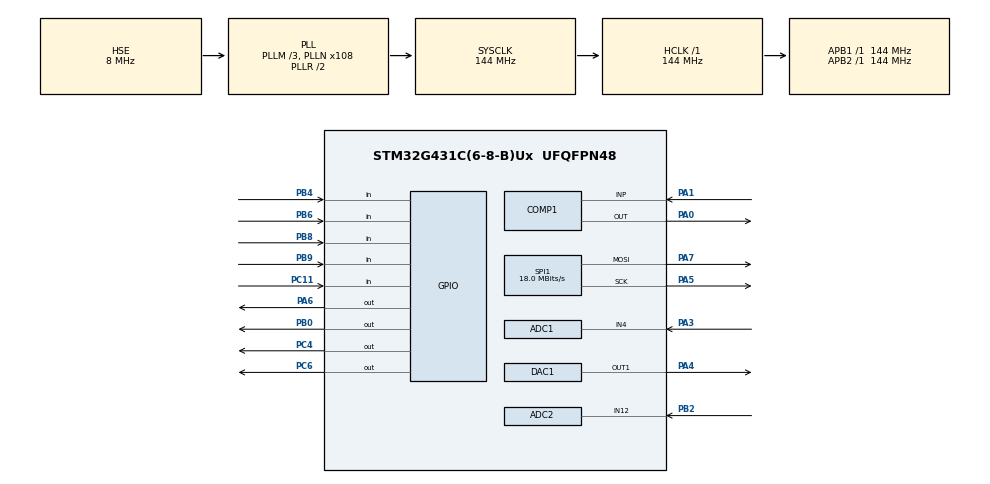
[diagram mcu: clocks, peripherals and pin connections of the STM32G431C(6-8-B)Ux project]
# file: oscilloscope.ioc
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ADC1.Channel-2\#ChannelRegularConversion=ADC_CHANNEL_4
ADC1.DMAContinuousRequests=ENABLE
ADC1.ExternalTrigConv=ADC_EXTERNALTRIG_T3_TRGO
ADC1.NbrOfConversionFlag=1
ADC1.OffsetNumber-2\#ChannelRegularConversion=ADC_OFFSET_NONE
ADC1.Overrun=ADC_OVR_DATA_OVERWRITTEN
ADC1.Rank-2\#ChannelRegularConversion=1
ADC1.SamplingTime-2\#ChannelRegularConversion=ADC_SAMPLETIME_2CYCLES_5
ADC1.master=1
ADC2.Channel-0\#ChannelRegularConversion=ADC_CHANNEL_12
ADC2.DMAContinuousRequests=ENABLE
ADC2.ExternalTrigConv=ADC_EXTERNALTRIG_T3_TRGO
ADC2.NbrOfConversionFlag=1
ADC2.OffsetNumber-0\#ChannelRegularConversion=ADC_OFFSET_NONE
ADC2.Overrun=ADC_OVR_DATA_OVERWRITTEN
ADC2.Rank-0\#ChannelRegularConversion=1
ADC2.SamplingTime-0\#ChannelRegularConversion=ADC_SAMPLETIME_2CYCLES_5
COMP1.Hysteresis=COMP_HYSTERESIS_10MV
DAC1.DAC_Trigger_OUT1-DAC_OUT1=DAC_TRIGGER_T2_TRGO
Dma.ADC1.2.Direction=DMA_PERIPH_TO_MEMORY
Dma.ADC1.2.EventEnable=DISABLE
Dma.ADC1.2.Instance=DMA1_Channel3
Dma.ADC1.2.MemDataAlignment=DMA_MDATAALIGN_HALFWORD
Dma.ADC1.2.MemInc=DMA_MINC_ENABLE
Dma.ADC1.2.Mode=DMA_CIRCULAR
Dma.ADC1.2.PeriphDataAlignment=DMA_PDATAALIGN_HALFWORD
Dma.ADC1.2.PeriphInc=DMA_PINC_DISABLE
Dma.ADC1.2.Polarity=HAL_DMAMUX_REQ_GEN_RISING
Dma.ADC1.2.Priority=DMA_PRIORITY_HIGH
Dma.ADC1.2.RequestNumber=1
Dma.ADC1.2.SignalID=NONE
Dma.ADC1.2.SyncEnable=DISABLE
Dma.ADC1.2.SyncPolarity=HAL_DMAMUX_SYNC_NO_EVENT
Dma.ADC1.2.SyncRequestNumber=1
Dma.ADC1.2.SyncSignalID=NONE
Dma.ADC2.0.Direction=DMA_PERIPH_TO_MEMORY
Dma.ADC2.0.EventEnable=DISABLE
Dma.ADC2.0.Instance=DMA1_Channel1
Dma.ADC2.0.MemDataAlignment=DMA_MDATAALIGN_HALFWORD
Dma.ADC2.0.MemInc=DMA_MINC_ENABLE
Dma.ADC2.0.Mode=DMA_CIRCULAR
Dma.ADC2.0.PeriphDataAlignment=DMA_PDATAALIGN_HALFWORD
Dma.ADC2.0.PeriphInc=DMA_PINC_DISABLE
Dma.ADC2.0.Polarity=HAL_DMAMUX_REQ_GEN_RISING
Dma.ADC2.0.Priority=DMA_PRIORITY_VERY_HIGH
Dma.ADC2.0.RequestNumber=1
Dma.ADC2.0.SignalID=NONE
Dma.ADC2.0.SyncEnable=DISABLE
Dma.ADC2.0.SyncPolarity=HAL_DMAMUX_SYNC_NO_EVENT
Dma.ADC2.0.SyncRequestNumber=1
Dma.ADC2.0.SyncSignalID=NONE
Dma.DAC1_CH1.3.Direction=DMA_MEMORY_TO_PERIPH
Dma.DAC1_CH1.3.EventEnable=DISABLE
Dma.DAC1_CH1.3.Instance=DMA1_Channel4
Dma.DAC1_CH1.3.MemDataAlignment=DMA_MDATAALIGN_WORD
Dma.DAC1_CH1.3.MemInc=DMA_MINC_ENABLE
Dma.DAC1_CH1.3.Mode=DMA_CIRCULAR
Dma.DAC1_CH1.3.PeriphDataAlignment=DMA_PDATAALIGN_WORD
Dma.DAC1_CH1.3.PeriphInc=DMA_PINC_DISABLE
Dma.DAC1_CH1.3.Polarity=HAL_DMAMUX_REQ_GEN_RISING
Dma.DAC1_CH1.3.Priority=DMA_PRIORITY_LOW
Dma.DAC1_CH1.3.RequestNumber=1
Dma.DAC1_CH1.3.SignalID=NONE
Dma.DAC1_CH1.3.SyncEnable=DISABLE
Dma.DAC1_CH1.3.SyncPolarity=HAL_DMAMUX_SYNC_NO_EVENT
Dma.DAC1_CH1.3.SyncRequestNumber=1
Dma.DAC1_CH1.3.SyncSignalID=NONE
Dma.Request0=ADC2
Dma.Request1=SPI1_TX
Dma.Request2=ADC1
Dma.Request3=DAC1_CH1
Dma.SPI1_TX.1.Direction=DMA_MEMORY_TO_PERIPH
Dma.SPI1_TX.1.EventEnable=DISABLE
Dma.SPI1_TX.1.Instance=DMA1_Channel2
Dma.SPI1_TX.1.MemDataAlignment=DMA_MDATAALIGN_BYTE
Dma.SPI1_TX.1.MemInc=DMA_MINC_ENABLE
Dma.SPI1_TX.1.Mode=DMA_NORMAL
Dma.SPI1_TX.1.PeriphDataAlignment=DMA_PDATAALIGN_BYTE
Dma.SPI1_TX.1.PeriphInc=DMA_PINC_DISABLE
Dma.SPI1_TX.1.Polarity=HAL_DMAMUX_REQ_GEN_RISING
Dma.SPI1_TX.1.Priority=DMA_PRIORITY_VERY_HIGH
Dma.SPI1_TX.1.RequestNumber=1
Dma.SPI1_TX.1.SignalID=NONE
Dma.SPI1_TX.1.SyncEnable=DISABLE
Dma.SPI1_TX.1.SyncPolarity=HAL_DMAMUX_SYNC_NO_EVENT
Dma.SPI1_TX.1.SyncRequestNumber=1
Dma.SPI1_TX.1.SyncSignalID=NONE
Mcu.Family=STM32G4
Mcu.Name=STM32G431C(6-8-B)Ux
Mcu.Package=UFQFPN48
NVIC.DMA1_Channel1_IRQn=true\:0\:0\:false\:false\:true\:false\:true\:true
NVIC.DMA1_Channel2_IRQn=true\:0\:0\:false\:false\:true\:false\:true\:true
NVIC.DMA1_Channel3_IRQn=true\:0\:0\:false\:false\:true\:false\:true\:true
NVIC.DMA1_Channel4_IRQn=true\:0\:0\:false\:false\:true\:false\:true\:true
NVIC.PriorityGroup=NVIC_PRIORITYGROUP_4
NVIC.TIM1_CC_IRQn=true\:0\:0\:false\:false\:true\:true\:true\:true
NVIC.TIM1_UP_TIM16_IRQn=true\:0\:0\:false\:false\:true\:true\:true\:true
PA0.Mode=ExternalOutput
PA0.Signal=COMP1_OUT
PA1.Mode=INP
PA1.Signal=COMP1_INP
PA13.Mode=Serial_Wire
PA13.Signal=SYS_JTMS-SWDIO
PA14.Mode=Serial_Wire
PA14.Signal=SYS_JTCK-SWCLK
PA3.Mode=IN4-Single-Ended
PA3.Signal=ADC1_IN4
PA4.Signal=COMP_DAC11_group
PA5.Mode=TX_Only_Simplex_Unidirect_Master
PA5.Signal=SPI1_SCK
PA6.Signal=GPIO_Output
PA7.Mode=TX_Only_Simplex_Unidirect_Master
PA7.Signal=SPI1_MOSI
PB0.Signal=GPIO_Output
PB2.Mode=IN12-Single-Ended
PB2.Signal=ADC2_IN12
PB4.GPIO_PuPd=GPIO_PULLUP
PB4.Signal=GPIO_Input
PB6.GPIO_PuPd=GPIO_PULLUP
PB6.Signal=GPIO_Input
PB8-BOOT0.GPIO_PuPd=GPIO_PULLUP
PB8-BOOT0.Signal=GPIO_Input
PB9.GPIO_PuPd=GPIO_PULLUP
PB9.Signal=GPIO_Input
PC11.GPIO_PuPd=GPIO_PULLUP
PC11.Signal=GPIO_Input
PC4.Signal=GPIO_Output
PC6.Signal=GPIO_Output
PF0-OSC_IN.Mode=HSE-External-Oscillator
PF0-OSC_IN.Signal=RCC_OSC_IN
PF1-OSC_OUT.Mode=HSE-External-Oscillator
PF1-OSC_OUT.Signal=RCC_OSC_OUT
ProjectManager.HeapSize=0x200
ProjectManager.StackSize=0x400
ProjectManager.TargetToolchain=CMake
RCC.ADC12Freq_Value=144000000
RCC.AHBFreq_Value=144000000
RCC.APB1Freq_Value=144000000
RCC.APB1TimFreq_Value=144000000
RCC.APB2Freq_Value=144000000
RCC.APB2TimFreq_Value=144000000
RCC.CortexFreq_Value=144000000
RCC.EXTERNAL_CLOCK_VALUE=12288000
RCC.HCLKFreq_Value=144000000
RCC.HSE_VALUE=8000000
RCC.HSI48_VALUE=48000000
RCC.HSI_VALUE=16000000
RCC.LSE_VALUE=32768
RCC.PLLM=RCC_PLLM_DIV3
RCC.PLLN=108
RCC.PLLQ=RCC_PLLQ_DIV6
RCC.PLLSourceVirtual=RCC_PLLSOURCE_HSE
RCC.SYSCLKFreq_VALUE=144000000
RCC.SYSCLKSource=RCC_SYSCLKSOURCE_PLLCLK
RCC.USBFreq_Value=48000000
RCC.VCOOutputFreq_Value=288000000
SH.COMP_DAC11_group.0=DAC1_OUT1,DAC_OUT1
SPI1.BaudRatePrescaler=SPI_BAUDRATEPRESCALER_8
SPI1.CalculateBaudRate=18.0 MBits/s
SPI1.DataSize=SPI_DATASIZE_8BIT
SPI1.Direction=SPI_DIRECTION_2LINES
SPI1.Mode=SPI_MODE_MASTER
SPI1.VirtualType=VM_MASTER
TIM1.Channel-Input_Capture1_from_TI1_REMAP_TIM1=TIM_CHANNEL_1
TIM2.PeriodNoDither=624
TIM2.TIM_MasterOutputTrigger=TIM_TRGO_UPDATE
TIM3.PeriodNoDither=71
TIM3.TIM_MasterOutputTrigger=TIM_TRGO_UPDATE
VP_COMP1_VS_VREFINT14.Mode=VREFINT_14
VP_SYS_VS_DBSignals.Mode=DisableDeadBatterySignals
VP_TIM1_VS_ClockSourceINT.Mode=Internal
VP_TIM1_VS_ControllerModeTrigger.Mode=Trigger Mode
VP_TIM1_VS_NoETR.Mode=TriggerSource_ETR_Remap_TIM1
VP_TIM1_VS_NoInput1.Mode=Input_Capture1_from_TI1_REMAP_TIM1
VP_TIM2_VS_ClockSourceINT.Mode=Internal
VP_TIM3_VS_ClockSourceINT.Mode=Internal
board=custom

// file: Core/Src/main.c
/* USER CODE BEGIN Header */
/**
 ******************************************************************************
 * @file           : main.c
 * @brief          : Main program body
 ******************************************************************************
 *
 * FIXES APPLIED:
 *  1. TIM1 slave config block removed — free-running counter now
 *  2. ETR remap removed — only TI1→COMP1 remap kept
 *  3. TIM1_CC_IRQn and TIM1_UP_TIM16_IRQn both enabled (G4 split IRQs)
 *  4. Calculate_Prescaler() formula fixed (sampling_rate is Hz, not kHz)
 *  5. TIM1_OVC reset only on IDLE→DONE transition
 *  6. FreqString double-sprintf removed
 *  7. ICFilter=4 added for noise rejection
 */
/* USER CODE END Header */
#include "main.h"

/* USER CODE BEGIN Includes */
#include "ILI9341_GFX.h"
#include "ILI9341_STM32_Driver.h"
#include "arm_math.h"
#include "fft_display.h"
#include "fonts.h"
#include "time_domain.h"
#include <stdint.h>
#include <stdio.h>
#include <string.h>
/* USER CODE END Includes */

ADC_HandleTypeDef hadc1;
ADC_HandleTypeDef hadc2;
DMA_HandleTypeDef hdma_adc1;
DMA_HandleTypeDef hdma_adc2;

COMP_HandleTypeDef hcomp1;

DAC_HandleTypeDef hdac1;
DMA_HandleTypeDef hdma_dac1_ch1;

SPI_HandleTypeDef hspi1;
DMA_HandleTypeDef hdma_spi1_tx;

TIM_HandleTypeDef htim1;
TIM_HandleTypeDef htim2;
TIM_HandleTypeDef htim3;

/* USER CODE BEGIN PV */
#define NS 128
uint32_t Wave_LUT[NS] = {
    2048,2148,2248,2348,2447,2545,2642,2737,
    2831,2923,3013,3100,3185,3267,3346,3422,
    3496,3566,3631,3693,3751,3805,3854,3899,
    3939,3975,4005,4031,4051,4067,4077,4085,
    4095,4085,4077,4067,4051,4031,4005,3975,
    3939,3899,3854,3805,3751,3693,3631,3566,
    3496,3422,3346,3267,3185,3100,3013,2923,
    2831,2737,2642,2545,2447,2348,2248,2148,
    2048,1948,1848,1748,1649,1551,1454,1359,
    1265,1173,1083, 996, 911, 829, 750, 674,
     600, 530, 465, 403, 345, 291, 242, 197,
     157, 121,  91,  65,  45,  29,  19,  11,
       1,  11,  19,  29,  45,  65,  91, 121,
     157, 197, 242, 291, 345, 403, 465, 530,
     600, 674, 750, 829, 911, 996,1083,1173,
    1265,1359,1454,1551,1649,1748,1848,1948
};

uint16_t adc1_buf[BUF_SIZE * 2];
uint16_t adc2_buf[BUF_SIZE * 2];
uint16_t displayed_data1[BUF_SIZE];
uint16_t displayed_data2[BUF_SIZE];

volatile uint8_t data_ready = 0;
volatile uint16_t dma_offset = 0;

uint8_t prev_valid = 0;
uint16_t usb_tx_busy = 0;
volatile uint8_t spi_dma_done = 1;

uint32_t last_debounce_time = 0;
#define DEBOUNCE_MS 50

/* Per-column previous Y values for targeted erase */
int16_t prev_y1[PLOT_W];
int16_t prev_y2[PLOT_W];
int16_t prev_y1_next[PLOT_W];
int16_t prev_y2_next[PLOT_W];

/* FFT */
#define FFT_SIZE 512

typedef enum { MODE_TIME = 0, MODE_FFT } DisplayMode;

/* Vertical controls (oscilloscope style) */
float ch1_scale = 1.0f;
float ch2_scale = 1.0f;
int16_t ch1_offset = 0;
int16_t ch2_offset = 0;

/* FFT controls */
float fft_y_scale = 1.0f;
int16_t fft_y_offset = -150;
float fft_x_scale = 1.0f;
int16_t fft_x_offset = 0;

/* sampling_rate is in Hz — used directly in Calculate_Prescaler() */
float sampling_rate = 2000.0f;
uint32_t last_label_time = 0;

volatile DisplayMode display_mode = MODE_TIME;

/* Frequency measurement */
#define IDLE 0
#define DONE 1
#define F_CLK 144000000UL

volatile uint8_t State = IDLE;
volatile uint32_t T1 = 0;
volatile uint32_t T2 = 0;
volatile uint32_t Ticks = 0;
volatile uint16_t TIM1_OVC = 0;
volatile uint32_t Freq = 0;
char FreqString[20] = {'\0'};

/* DMA half/full offsets for dual ADC */
volatile uint16_t dma_offset1 = 0;
volatile uint16_t dma_offset2 = 0;

/* USER CODE END PV */

void SystemClock_Config(void);
static void MX_GPIO_Init(void);
static void MX_DMA_Init(void);
static void MX_ADC2_Init(void);
static void MX_TIM3_Init(void);
static void MX_SPI1_Init(void);
static void MX_TIM2_Init(void);
static void MX_COMP1_Init(void);
static void MX_ADC1_Init(void);
static void MX_TIM1_Init(void);
static void MX_DAC1_Init(void);

/* USER CODE BEGIN 0 */

/* ── SPI DMA complete ───────────────────────────────────────────────────── */
void HAL_SPI_TxCpltCallback(SPI_HandleTypeDef *hspi) {
  if (hspi->Instance == SPI1) {
    HAL_GPIO_WritePin(LCD_CS_PORT, LCD_CS_PIN, GPIO_PIN_SET);
    spi_dma_done = 1;
  }
}

/* ── TIM3 ARR calculation ───────────────────────────────────────────────── */
/*
 * sampling_rate is in Hz (e.g. 2000 = 2 kHz).
 * TIM3 runs off 144 MHz with prescaler = 0, so:
 *   ARR = (F_CLK / sampling_rate) - 1
 *
 * OLD (wrong): divided by sampling_rate * 1000  → ARR was 1000× too small
 */
void Set_Sine_Freq(uint32_t freq_hz) {
    uint32_t arr = (144000000 / (freq_hz * NS)) - 1;  // Use NS (32) not 128
    HAL_TIM_Base_Stop(&htim2);
__HAL_TIM_SET_AUTORELOAD(&htim2, arr);
__HAL_TIM_SET_COUNTER(&htim2, 0);
HAL_TIM_Base_Start(&htim2);
}

uint32_t Calculate_Prescaler(void) {
  uint32_t arr = (uint32_t)((144000000.0f / (sampling_rate * 1000.0)) - 1.0f);
  return arr;
}

/* ── Dual ADC DMA callbacks ─────────────────────────────────────────────── */
void HAL_ADC_ConvHalfCpltCallback(ADC_HandleTypeDef *hadc) {
  if (hadc->Instance == ADC1)
    dma_offset1 = 0;
  if (hadc->Instance == ADC2)
    dma_offset2 = 0;
  if (dma_offset1 == dma_offset2)
    data_ready = 1;
}

void HAL_ADC_ConvCpltCallback(ADC_HandleTypeDef *hadc) {
  if (hadc->Instance == ADC1)
    dma_offset1 = BUF_SIZE;
  if (hadc->Instance == ADC2)
    dma_offset2 = BUF_SIZE;
  if (dma_offset1 == dma_offset2)
    data_ready = 1;
}

/* ── TIM1 Input Capture — frequency measurement ─────────────────────────── */
/*
 * Two-capture method:
 *   IDLE  → latch T1, reset overflow counter, advance to DONE
 *   DONE  → latch T2, compute period including overflows, advance to IDLE
 *
 * TIM1 runs free at 144 MHz (prescaler=0, period=65535).
 * COMP1 output is routed to TI1 via TIMEx_TISelection.
 * No slave mode — timer is never reset by an external signal.
 */

void HAL_TIM_IC_CaptureCallback(TIM_HandleTypeDef *htim) {
  if (State == IDLE) {
    T1 = TIM1->CCR1;
    TIM1_OVC = 0;
    State = DONE;
  } else if (State == DONE) {
    T2 = TIM1->CCR1;
    Ticks = (T2 + (TIM1_OVC * 65536)) - T1;
    Freq = (uint32_t)(F_CLK / Ticks);
    State = IDLE;
  }
}

void HAL_TIM_PeriodElapsedCallback(TIM_HandleTypeDef *htim) {
  if (htim->Instance == TIM1) {
    TIM1_OVC++;
  }
}

/* ── Display mode toggle ────────────────────────────────────────────────── */
void Toggle_Display_Mode(void) {
  display_mode = (display_mode == MODE_TIME) ? MODE_FFT : MODE_TIME;
  ILI9341_Fill_Screen(BLACK);

  if (display_mode == MODE_FFT)
    Draw_FFT_Labels();
  else
    Draw_Time_Labels();

  Draw_Axes();
  prev_valid = 0;
}

/* USER CODE END 0 */

int main(void)
{

  /* MCU Configuration--------------------------------------------------------*/

  /* Reset of all peripherals, Initializes the Flash interface and the Systick. */
  HAL_Init();

  /* Configure the system clock */
  SystemClock_Config();

  /* Initialize all configured peripherals */
  MX_GPIO_Init();
  MX_DMA_Init();
  MX_ADC2_Init();
  MX_TIM3_Init();
  MX_SPI1_Init();
  MX_TIM2_Init();
  MX_COMP1_Init();
  MX_ADC1_Init();
  MX_TIM1_Init();
  MX_DAC1_Init();
  /* USER CODE BEGIN 2 */
/* === Configure TIM2 for DAC trigger only (no PWM) === */
/* TIM2 is already initialized, just start it */
HAL_TIM_Base_Start(&htim2);

/* === Start DAC with DMA === */
if (HAL_DAC_Start_DMA(&hdac1, DAC_CHANNEL_1, (uint32_t *)Wave_LUT, NS,
                      DAC_ALIGN_12B_R) != HAL_OK) {
    Error_Handler();
}

/* === CRITICAL: Enable DAC channel === */

/* Calibrate ADC (required on STM32G4) */
HAL_ADCEx_Calibration_Start(&hadc1, ADC_SINGLE_ENDED);
HAL_ADCEx_Calibration_Start(&hadc2, ADC_SINGLE_ENDED);

/* Display init before ADC DMA starts */
ILI9341_Init();
ILI9341_Set_Rotation(SCREEN_HORIZONTAL_1);
ILI9341_Fill_Screen(BLACK);
Draw_Time_Labels();
Draw_Axes();

/* Initialise erase-history arrays to centre line */
for (int i = 0; i < PLOT_W; i++) {
    prev_y1[i] = PLOT_Y0 + PLOT_H / 2;
    prev_y1_next[i] = PLOT_Y0 + PLOT_H / 2;
    prev_y2[i] = PLOT_Y0 + PLOT_H / 2;
    prev_y2_next[i] = PLOT_Y0 + PLOT_H / 2;
}

/*
 * DMA priority:
 *   ADC DMA  (Ch1, Ch2) → priority 2  (lower)
 *   SPI DMA  (Ch3)      → priority 1  (higher)
 *   DAC DMA  (Ch4)      → priority 3  (lowest)
 */
HAL_NVIC_SetPriority(DMA1_Channel1_IRQn, 2, 0);
HAL_NVIC_SetPriority(DMA1_Channel2_IRQn, 2, 0);
HAL_NVIC_SetPriority(DMA1_Channel3_IRQn, 1, 0);
HAL_NVIC_SetPriority(DMA1_Channel4_IRQn, 3, 0);

/* Start ADC DMA — circular, double-buffered */
HAL_ADC_Start_DMA(&hadc1, (uint32_t *)adc1_buf, BUF_SIZE * 2);
HAL_ADC_Start_DMA(&hadc2, (uint32_t *)adc2_buf, BUF_SIZE * 2);

/* TIM3 → ADC sample clock */
HAL_TIM_Base_Start(&htim3);

/*
 * TIM1 — frequency counter.
 * Start overflow (update) interrupt FIRST so TIM1_OVC is always
 * incremented before a capture fires on a wrap.
 */
HAL_TIM_Base_Start_IT(&htim1);
HAL_TIM_IC_Start_IT(&htim1, TIM_CHANNEL_1);

/* Comparator must be running for TI1 to see edges */
HAL_COMP_Start(&hcomp1);

FFT_Init();

Set_Sine_Freq(20000);

  /* USER CODE END 2 */

  /* Infinite loop */
  /* USER CODE BEGIN WHILE */
  while (1) {
    /* ── Frequency display ─────────────────────────────────────────── */
    /*
     * Snapshot Freq atomically (32-bit read is atomic on Cortex-M4
     * but copy once to avoid it changing mid-sprintf).
     */
    uint32_t freq_hz = Freq;
    uint32_t freq_int = freq_hz / 1000;        /* whole kHz */
    uint32_t freq_dec = (freq_hz % 1000) / 10; /* 2 decimal places */
    sprintf(FreqString, "%lu.%02lu kHz", freq_int, freq_dec);
    ILI9341_Draw_Text_Arial(FreqString, 100, 5, YELLOW, BLACK,

      Arial_Narrow8x12);

    /* ── Button debounce (polling) ─────────────────────────────────── */
    static uint8_t button_state = 1;
    static uint8_t last_reading = 1;

    /* Keep TIM3 ARR in sync with sampling_rate */
    __HAL_TIM_SET_AUTORELOAD(&htim3, Calculate_Prescaler());

    uint8_t reading = HAL_GPIO_ReadPin(GPIOB, GPIO_PIN_9);

    if (reading != last_reading)
      last_debounce_time = HAL_GetTick();

    if ((HAL_GetTick() - last_debounce_time) > DEBOUNCE_MS) {
      if (reading != button_state) {
        button_state = reading;
        if (button_state == 0) { /* falling edge = press */
          Toggle_Display_Mode();
          HAL_GPIO_TogglePin(GPIOC, GPIO_PIN_6);
        }
      }
    }

    last_reading = reading;

    /* ── Waveform / FFT rendering ──────────────────────────────────── */
    if (data_ready) {
      data_ready = 0;

      __disable_irq();
      uint16_t off1 = dma_offset1;
      uint16_t off2 = dma_offset2;
      memcpy(displayed_data1, &adc1_buf[off1], BUF_SIZE * sizeof(uint16_t));
      memcpy(displayed_data2, &adc2_buf[off2], BUF_SIZE * sizeof(uint16_t));
      __enable_irq();

      if (display_mode == MODE_FFT)
        Plot_FFT();
      else
        Plot_Waveforms();
    }

    /* USER CODE END WHILE */

  }
}

void SystemClock_Config(void)
{
  RCC_OscInitTypeDef RCC_OscInitStruct = {0};
  RCC_ClkInitTypeDef RCC_ClkInitStruct = {0};

  /** Configure the main internal regulator output voltage
  */
  HAL_PWREx_ControlVoltageScaling(PWR_REGULATOR_VOLTAGE_SCALE1);

  /** Initializes the RCC Oscillators according to the specified parameters
  * in the RCC_OscInitTypeDef structure.
  */
  RCC_OscInitStruct.OscillatorType = RCC_OSCILLATORTYPE_HSE;
  RCC_OscInitStruct.HSEState = RCC_HSE_ON;
  RCC_OscInitStruct.PLL.PLLState = RCC_PLL_ON;
  RCC_OscInitStruct.PLL.PLLSource = RCC_PLLSOURCE_HSE;
  RCC_OscInitStruct.PLL.PLLM = RCC_PLLM_DIV3;
  RCC_OscInitStruct.PLL.PLLN = 108;
  RCC_OscInitStruct.PLL.PLLP = RCC_PLLP_DIV2;
  RCC_OscInitStruct.PLL.PLLQ = RCC_PLLQ_DIV6;
  RCC_OscInitStruct.PLL.PLLR = RCC_PLLR_DIV2;
  if (HAL_RCC_OscConfig(&RCC_OscInitStruct) != HAL_OK)
  {
    Error_Handler();
  }

  /** Initializes the CPU, AHB and APB buses clocks
  */
  RCC_ClkInitStruct.ClockType = RCC_CLOCKTYPE_HCLK|RCC_CLOCKTYPE_SYSCLK
                              |RCC_CLOCKTYPE_PCLK1|RCC_CLOCKTYPE_PCLK2;
  RCC_ClkInitStruct.SYSCLKSource = RCC_SYSCLKSOURCE_PLLCLK;
  RCC_ClkInitStruct.AHBCLKDivider = RCC_SYSCLK_DIV1;
  RCC_ClkInitStruct.APB1CLKDivider = RCC_HCLK_DIV1;
  RCC_ClkInitStruct.APB2CLKDivider = RCC_HCLK_DIV1;

  if (HAL_RCC_ClockConfig(&RCC_ClkInitStruct, FLASH_LATENCY_4) != HAL_OK)
  {
    Error_Handler();
  }
}

static void MX_ADC1_Init(void)
{

  ADC_MultiModeTypeDef multimode = {0};
  ADC_ChannelConfTypeDef sConfig = {0};

  /** Common config
  */
  hadc1.Instance = ADC1;
  hadc1.Init.ClockPrescaler = ADC_CLOCK_SYNC_PCLK_DIV4;
  hadc1.Init.Resolution = ADC_RESOLUTION_12B;
  hadc1.Init.DataAlign = ADC_DATAALIGN_RIGHT;
  hadc1.Init.GainCompensation = 0;
  hadc1.Init.ScanConvMode = ADC_SCAN_DISABLE;
  hadc1.Init.EOCSelection = ADC_EOC_SINGLE_CONV;
  hadc1.Init.LowPowerAutoWait = DISABLE;
  hadc1.Init.ContinuousConvMode = DISABLE;
  hadc1.Init.NbrOfConversion = 1;
  hadc1.Init.DiscontinuousConvMode = DISABLE;
  hadc1.Init.ExternalTrigConv = ADC_EXTERNALTRIG_T3_TRGO;
  hadc1.Init.ExternalTrigConvEdge = ADC_EXTERNALTRIGCONVEDGE_RISING;
  hadc1.Init.DMAContinuousRequests = ENABLE;
  hadc1.Init.Overrun = ADC_OVR_DATA_OVERWRITTEN;
  hadc1.Init.OversamplingMode = DISABLE;
  if (HAL_ADC_Init(&hadc1) != HAL_OK)
  {
    Error_Handler();
  }

  /** Configure the ADC multi-mode
  */
  multimode.Mode = ADC_MODE_INDEPENDENT;
  if (HAL_ADCEx_MultiModeConfigChannel(&hadc1, &multimode) != HAL_OK)
  {
    Error_Handler();
  }

  /** Configure Regular Channel
  */
  sConfig.Channel = ADC_CHANNEL_4;
  sConfig.Rank = ADC_REGULAR_RANK_1;
  sConfig.SamplingTime = ADC_SAMPLETIME_2CYCLES_5;
  sConfig.SingleDiff = ADC_SINGLE_ENDED;
  sConfig.OffsetNumber = ADC_OFFSET_NONE;
  sConfig.Offset = 0;
  if (HAL_ADC_ConfigChannel(&hadc1, &sConfig) != HAL_OK)
  {
    Error_Handler();
  }

}

static void MX_ADC2_Init(void)
{

  ADC_ChannelConfTypeDef sConfig = {0};

  /** Common config
  */
  hadc2.Instance = ADC2;
  hadc2.Init.ClockPrescaler = ADC_CLOCK_SYNC_PCLK_DIV4;
  hadc2.Init.Resolution = ADC_RESOLUTION_12B;
  hadc2.Init.DataAlign = ADC_DATAALIGN_RIGHT;
  hadc2.Init.GainCompensation = 0;
  hadc2.Init.ScanConvMode = ADC_SCAN_DISABLE;
  hadc2.Init.EOCSelection = ADC_EOC_SINGLE_CONV;
  hadc2.Init.LowPowerAutoWait = DISABLE;
  hadc2.Init.ContinuousConvMode = DISABLE;
  hadc2.Init.NbrOfConversion = 1;
  hadc2.Init.DiscontinuousConvMode = DISABLE;
  hadc2.Init.ExternalTrigConv = ADC_EXTERNALTRIG_T3_TRGO;
  hadc2.Init.ExternalTrigConvEdge = ADC_EXTERNALTRIGCONVEDGE_RISING;
  hadc2.Init.DMAContinuousRequests = ENABLE;
  hadc2.Init.Overrun = ADC_OVR_DATA_OVERWRITTEN;
  hadc2.Init.OversamplingMode = DISABLE;
  if (HAL_ADC_Init(&hadc2) != HAL_OK)
  {
    Error_Handler();
  }

  /** Configure Regular Channel
  */
  sConfig.Channel = ADC_CHANNEL_12;
  sConfig.Rank = ADC_REGULAR_RANK_1;
  sConfig.SamplingTime = ADC_SAMPLETIME_2CYCLES_5;
  sConfig.SingleDiff = ADC_SINGLE_ENDED;
  sConfig.OffsetNumber = ADC_OFFSET_NONE;
  sConfig.Offset = 0;
  if (HAL_ADC_ConfigChannel(&hadc2, &sConfig) != HAL_OK)
  {
    Error_Handler();
  }

}

static void MX_COMP1_Init(void)
{

  hcomp1.Instance = COMP1;
  hcomp1.Init.InputPlus = COMP_INPUT_PLUS_IO1;
  hcomp1.Init.InputMinus = COMP_INPUT_MINUS_1_4VREFINT;
  hcomp1.Init.OutputPol = COMP_OUTPUTPOL_NONINVERTED;
  hcomp1.Init.Hysteresis = COMP_HYSTERESIS_10MV;
  hcomp1.Init.BlankingSrce = COMP_BLANKINGSRC_NONE;
  hcomp1.Init.TriggerMode = COMP_TRIGGERMODE_NONE;
  if (HAL_COMP_Init(&hcomp1) != HAL_OK)
  {
    Error_Handler();
  }

}

static void MX_DAC1_Init(void)
{

  DAC_ChannelConfTypeDef sConfig = {0};

  /** DAC Initialization
  */
  hdac1.Instance = DAC1;
  if (HAL_DAC_Init(&hdac1) != HAL_OK)
  {
    Error_Handler();
  }

  /** DAC channel OUT1 config
  */
  sConfig.DAC_HighFrequency = DAC_HIGH_FREQUENCY_INTERFACE_MODE_AUTOMATIC;
  sConfig.DAC_DMADoubleDataMode = DISABLE;
  sConfig.DAC_SignedFormat = DISABLE;
  sConfig.DAC_SampleAndHold = DAC_SAMPLEANDHOLD_DISABLE;
  sConfig.DAC_Trigger = DAC_TRIGGER_T2_TRGO;
  sConfig.DAC_Trigger2 = DAC_TRIGGER_NONE;
  sConfig.DAC_OutputBuffer = DAC_OUTPUTBUFFER_ENABLE;
  sConfig.DAC_ConnectOnChipPeripheral = DAC_CHIPCONNECT_EXTERNAL;
  sConfig.DAC_UserTrimming = DAC_TRIMMING_FACTORY;
sConfig.DAC_HighFrequency = DAC_HIGH_FREQUENCY_INTERFACE_MODE_ABOVE_80MHZ;

  if (HAL_DAC_ConfigChannel(&hdac1, &sConfig, DAC_CHANNEL_1) != HAL_OK)
  {
    Error_Handler();
  }
  /* USER CODE BEGIN DAC1_Init 2 */
hdac1.DMA_Handle1->Init.Mode = DMA_CIRCULAR;  // ← ADD THIS

  /* USER CODE END DAC1_Init 2 */

}

static void MX_SPI1_Init(void)
{

  /* SPI1 parameter configuration*/
  hspi1.Instance = SPI1;
  hspi1.Init.Mode = SPI_MODE_MASTER;
  hspi1.Init.Direction = SPI_DIRECTION_2LINES;
  hspi1.Init.DataSize = SPI_DATASIZE_8BIT;
  hspi1.Init.CLKPolarity = SPI_POLARITY_LOW;
  hspi1.Init.CLKPhase = SPI_PHASE_1EDGE;
  hspi1.Init.NSS = SPI_NSS_SOFT;
  hspi1.Init.BaudRatePrescaler = SPI_BAUDRATEPRESCALER_8;
  hspi1.Init.FirstBit = SPI_FIRSTBIT_MSB;
  hspi1.Init.TIMode = SPI_TIMODE_DISABLE;
  hspi1.Init.CRCCalculation = SPI_CRCCALCULATION_DISABLE;
  hspi1.Init.CRCPolynomial = 7;
  hspi1.Init.CRCLength = SPI_CRC_LENGTH_DATASIZE;
  hspi1.Init.NSSPMode = SPI_NSS_PULSE_ENABLE;
  if (HAL_SPI_Init(&hspi1) != HAL_OK)
  {
    Error_Handler();
  }

}

static void MX_TIM1_Init(void)
{

  TIM_ClockConfigTypeDef sClockSourceConfig = {0};
  TIM_SlaveConfigTypeDef sSlaveConfig = {0};
  TIM_MasterConfigTypeDef sMasterConfig = {0};
  TIM_IC_InitTypeDef sConfigIC = {0};

  htim1.Instance = TIM1;
  htim1.Init.Prescaler = 0;
  htim1.Init.CounterMode = TIM_COUNTERMODE_UP;
  htim1.Init.Period = 65535;
  htim1.Init.ClockDivision = TIM_CLOCKDIVISION_DIV1;
  htim1.Init.RepetitionCounter = 0;
  htim1.Init.AutoReloadPreload = TIM_AUTORELOAD_PRELOAD_DISABLE;
  if (HAL_TIM_Base_Init(&htim1) != HAL_OK)
  {
    Error_Handler();
  }
  sClockSourceConfig.ClockSource = TIM_CLOCKSOURCE_INTERNAL;
  if (HAL_TIM_ConfigClockSource(&htim1, &sClockSourceConfig) != HAL_OK)
  {
    Error_Handler();
  }
  if (HAL_TIM_IC_Init(&htim1) != HAL_OK)
  {
    Error_Handler();
  }
  sSlaveConfig.SlaveMode = TIM_SLAVEMODE_TRIGGER;
  sSlaveConfig.InputTrigger = TIM_TS_ETRF;
  sSlaveConfig.TriggerPolarity = TIM_TRIGGERPOLARITY_NONINVERTED;
  sSlaveConfig.TriggerPrescaler = TIM_TRIGGERPRESCALER_DIV1;
  sSlaveConfig.TriggerFilter = 0;
  if (HAL_TIM_SlaveConfigSynchro(&htim1, &sSlaveConfig) != HAL_OK)
  {
    Error_Handler();
  }
  sMasterConfig.MasterOutputTrigger = TIM_TRGO_RESET;
  sMasterConfig.MasterOutputTrigger2 = TIM_TRGO2_RESET;
  sMasterConfig.MasterSlaveMode = TIM_MASTERSLAVEMODE_DISABLE;
  if (HAL_TIMEx_MasterConfigSynchronization(&htim1, &sMasterConfig) != HAL_OK)
  {
    Error_Handler();
  }
  HAL_TIMEx_RemapConfig(&htim1, TIM_TIM1_ETR_COMP1);
  sConfigIC.ICPolarity = TIM_INPUTCHANNELPOLARITY_RISING;
  sConfigIC.ICSelection = TIM_ICSELECTION_DIRECTTI;
  sConfigIC.ICPrescaler = TIM_ICPSC_DIV1;
  sConfigIC.ICFilter = 0;
  if (HAL_TIM_IC_ConfigChannel(&htim1, &sConfigIC, TIM_CHANNEL_1) != HAL_OK)
  {
    Error_Handler();
  }
  if (HAL_TIMEx_TISelection(&htim1, TIM_TIM1_TI1_COMP1, TIM_CHANNEL_1) != HAL_OK)
  {
    Error_Handler();
  }

}

static void MX_TIM2_Init(void)
{

  TIM_ClockConfigTypeDef sClockSourceConfig = {0};
  TIM_MasterConfigTypeDef sMasterConfig = {0};

  htim2.Instance = TIM2;
  htim2.Init.Prescaler = 0;
  htim2.Init.CounterMode = TIM_COUNTERMODE_UP;
  htim2.Init.Period = 624;
  htim2.Init.ClockDivision = TIM_CLOCKDIVISION_DIV1;
  htim2.Init.AutoReloadPreload = TIM_AUTORELOAD_PRELOAD_DISABLE;
  if (HAL_TIM_Base_Init(&htim2) != HAL_OK)
  {
    Error_Handler();
  }
  sClockSourceConfig.ClockSource = TIM_CLOCKSOURCE_INTERNAL;
  if (HAL_TIM_ConfigClockSource(&htim2, &sClockSourceConfig) != HAL_OK)
  {
    Error_Handler();
  }
  sMasterConfig.MasterOutputTrigger = TIM_TRGO_UPDATE;
  sMasterConfig.MasterSlaveMode = TIM_MASTERSLAVEMODE_DISABLE;
  if (HAL_TIMEx_MasterConfigSynchronization(&htim2, &sMasterConfig) != HAL_OK)
  {
    Error_Handler();
  }

}

static void MX_TIM3_Init(void)
{

  TIM_ClockConfigTypeDef sClockSourceConfig = {0};
  TIM_MasterConfigTypeDef sMasterConfig = {0};

  htim3.Instance = TIM3;
  htim3.Init.Prescaler = 0;
  htim3.Init.CounterMode = TIM_COUNTERMODE_UP;
  htim3.Init.Period = 71;
  htim3.Init.ClockDivision = TIM_CLOCKDIVISION_DIV1;
  htim3.Init.AutoReloadPreload = TIM_AUTORELOAD_PRELOAD_DISABLE;
  if (HAL_TIM_Base_Init(&htim3) != HAL_OK)
  {
    Error_Handler();
  }
  sClockSourceConfig.ClockSource = TIM_CLOCKSOURCE_INTERNAL;
  if (HAL_TIM_ConfigClockSource(&htim3, &sClockSourceConfig) != HAL_OK)
  {
    Error_Handler();
  }
  sMasterConfig.MasterOutputTrigger = TIM_TRGO_UPDATE;
  sMasterConfig.MasterSlaveMode = TIM_MASTERSLAVEMODE_DISABLE;
  if (HAL_TIMEx_MasterConfigSynchronization(&htim3, &sMasterConfig) != HAL_OK)
  {
    Error_Handler();
  }

}

static void MX_DMA_Init(void)
{

  /* DMA controller clock enable */
  __HAL_RCC_DMAMUX1_CLK_ENABLE();
  __HAL_RCC_DMA1_CLK_ENABLE();

  /* DMA interrupt init */
  /* DMA1_Channel1_IRQn interrupt configuration */
  HAL_NVIC_SetPriority(DMA1_Channel1_IRQn, 0, 0);
  HAL_NVIC_EnableIRQ(DMA1_Channel1_IRQn);
  /* DMA1_Channel2_IRQn interrupt configuration */
  HAL_NVIC_SetPriority(DMA1_Channel2_IRQn, 0, 0);
  HAL_NVIC_EnableIRQ(DMA1_Channel2_IRQn);
  /* DMA1_Channel3_IRQn interrupt configuration */
  HAL_NVIC_SetPriority(DMA1_Channel3_IRQn, 0, 0);
  HAL_NVIC_EnableIRQ(DMA1_Channel3_IRQn);
  /* DMA1_Channel4_IRQn interrupt configuration */
  HAL_NVIC_SetPriority(DMA1_Channel4_IRQn, 0, 0);
  HAL_NVIC_EnableIRQ(DMA1_Channel4_IRQn);

}

static void MX_GPIO_Init(void)
{
  GPIO_InitTypeDef GPIO_InitStruct = {0};

  /* GPIO Ports Clock Enable */
  __HAL_RCC_GPIOF_CLK_ENABLE();
  __HAL_RCC_GPIOA_CLK_ENABLE();
  __HAL_RCC_GPIOC_CLK_ENABLE();
  __HAL_RCC_GPIOB_CLK_ENABLE();

  /*Configure GPIO pin Output Level */
  HAL_GPIO_WritePin(GPIOA, GPIO_PIN_6, GPIO_PIN_RESET);

  /*Configure GPIO pin Output Level */
  HAL_GPIO_WritePin(GPIOC, GPIO_PIN_4|GPIO_PIN_6, GPIO_PIN_RESET);

  /*Configure GPIO pin Output Level */
  HAL_GPIO_WritePin(GPIOB, GPIO_PIN_0, GPIO_PIN_RESET);

  /*Configure GPIO pin : PA6 */
  GPIO_InitStruct.Pin = GPIO_PIN_6;
  GPIO_InitStruct.Mode = GPIO_MODE_OUTPUT_PP;
  GPIO_InitStruct.Pull = GPIO_NOPULL;
  GPIO_InitStruct.Speed = GPIO_SPEED_FREQ_LOW;
  HAL_GPIO_Init(GPIOA, &GPIO_InitStruct);

  /*Configure GPIO pins : PC4 PC6 */
  GPIO_InitStruct.Pin = GPIO_PIN_4|GPIO_PIN_6;
  GPIO_InitStruct.Mode = GPIO_MODE_OUTPUT_PP;
  GPIO_InitStruct.Pull = GPIO_NOPULL;
  GPIO_InitStruct.Speed = GPIO_SPEED_FREQ_LOW;
  HAL_GPIO_Init(GPIOC, &GPIO_InitStruct);

  /*Configure GPIO pin : PB0 */
  GPIO_InitStruct.Pin = GPIO_PIN_0;
  GPIO_InitStruct.Mode = GPIO_MODE_OUTPUT_PP;
  GPIO_InitStruct.Pull = GPIO_NOPULL;
  GPIO_InitStruct.Speed = GPIO_SPEED_FREQ_LOW;
  HAL_GPIO_Init(GPIOB, &GPIO_InitStruct);

  /*Configure GPIO pin : PC11 */
  GPIO_InitStruct.Pin = GPIO_PIN_11;
  GPIO_InitStruct.Mode = GPIO_MODE_INPUT;
  GPIO_InitStruct.Pull = GPIO_PULLUP;
  HAL_GPIO_Init(GPIOC, &GPIO_InitStruct);

  /*Configure GPIO pins : PB4 PB6 PB8 PB9 */
  GPIO_InitStruct.Pin = GPIO_PIN_4|GPIO_PIN_6|GPIO_PIN_8|GPIO_PIN_9;
  GPIO_InitStruct.Mode = GPIO_MODE_INPUT;
  GPIO_InitStruct.Pull = GPIO_PULLUP;
  HAL_GPIO_Init(GPIOB, &GPIO_InitStruct);

  /* USER CODE BEGIN MX_GPIO_Init_2 */
  /* Configure PA4 as analog for DAC1_OUT1 */
  GPIO_InitStruct.Pin = GPIO_PIN_4;
  GPIO_InitStruct.Mode = GPIO_MODE_ANALOG;
  GPIO_InitStruct.Pull = GPIO_NOPULL;
  HAL_GPIO_Init(GPIOA, &GPIO_InitStruct);
  /* USER CODE END MX_GPIO_Init_2 */
}

void Error_Handler(void)
{
  __disable_irq();
  while (1) {
  }
}
#ifdef USE_FULL_ASSERT
/**
  * @brief  Reports the name of the source file and the source line number
  *         where the assert_param error has occurred.
  * @param  file: pointer to the source file name
  * @param  line: assert_param error line source number
  * @retval None
  */
void assert_failed(uint8_t *file, uint32_t line)
{
  /* USER CODE BEGIN 6 */
  /* User can add his own implementation to report the file name and line
     number, ex: printf("Wrong parameters value: file %s on line %d\r\n", file,
     line) */
  /* USER CODE END 6 */
}
#endif /* USE_FULL_ASSERT */
